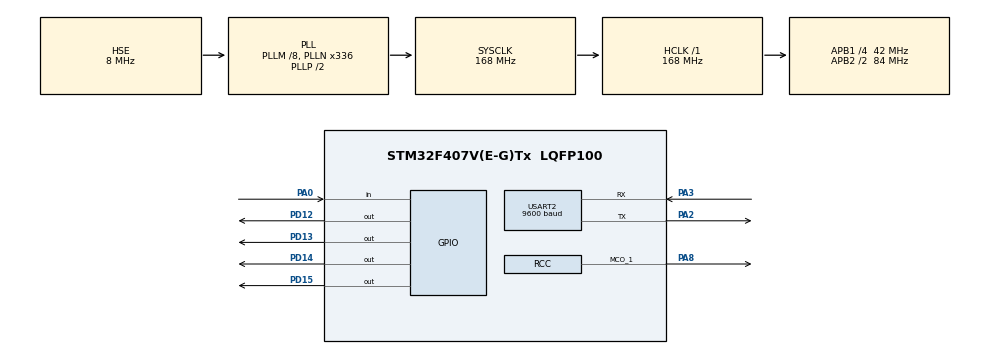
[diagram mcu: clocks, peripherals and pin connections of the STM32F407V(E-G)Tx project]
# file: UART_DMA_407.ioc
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Dma.Request0=USART2_RX
Dma.Request1=USART2_TX
Dma.USART2_RX.0.Direction=DMA_PERIPH_TO_MEMORY
Dma.USART2_RX.0.FIFOMode=DMA_FIFOMODE_DISABLE
Dma.USART2_RX.0.Instance=DMA1_Stream5
Dma.USART2_RX.0.MemDataAlignment=DMA_MDATAALIGN_BYTE
Dma.USART2_RX.0.MemInc=DMA_MINC_ENABLE
Dma.USART2_RX.0.Mode=DMA_NORMAL
Dma.USART2_RX.0.PeriphDataAlignment=DMA_PDATAALIGN_BYTE
Dma.USART2_RX.0.PeriphInc=DMA_PINC_DISABLE
Dma.USART2_RX.0.Priority=DMA_PRIORITY_LOW
Dma.USART2_TX.1.Direction=DMA_MEMORY_TO_PERIPH
Dma.USART2_TX.1.FIFOMode=DMA_FIFOMODE_DISABLE
Dma.USART2_TX.1.Instance=DMA1_Stream6
Dma.USART2_TX.1.MemDataAlignment=DMA_MDATAALIGN_BYTE
Dma.USART2_TX.1.MemInc=DMA_MINC_ENABLE
Dma.USART2_TX.1.Mode=DMA_NORMAL
Dma.USART2_TX.1.PeriphDataAlignment=DMA_PDATAALIGN_BYTE
Dma.USART2_TX.1.PeriphInc=DMA_PINC_DISABLE
Dma.USART2_TX.1.Priority=DMA_PRIORITY_LOW
Mcu.Family=STM32F4
Mcu.Name=STM32F407V(E-G)Tx
Mcu.Package=LQFP100
NVIC.DMA1_Stream5_IRQn=true\:0\:0\:false\:false\:true\:false\:true
NVIC.DMA1_Stream6_IRQn=true\:0\:0\:false\:false\:true\:false\:true
NVIC.PriorityGroup=NVIC_PRIORITYGROUP_0
NVIC.TIM1_UP_TIM10_IRQn=true\:0\:0\:false\:false\:true\:false\:true
NVIC.TimeBase=TIM1_UP_TIM10_IRQn
NVIC.TimeBaseIP=TIM1
NVIC.USART2_IRQn=true\:0\:0\:false\:false\:true\:true\:true
PA0-WKUP.Signal=GPIO_Input
PA2.Mode=Asynchronous
PA2.Signal=USART2_TX
PA3.Mode=Asynchronous
PA3.Signal=USART2_RX
PA8.Mode=Clock-out-1
PA8.Signal=RCC_MCO_1
PD12.Signal=GPIO_Output
PD13.Signal=GPIO_Output
PD14.Signal=GPIO_Output
PD15.Signal=GPIO_Output
PH0-OSC_IN.Mode=HSE-External-Clock-Source
PH0-OSC_IN.Signal=RCC_OSC_IN
PH1-OSC_OUT.Mode=HSE-External-Clock-Source
PH1-OSC_OUT.Signal=RCC_OSC_OUT
ProjectManager.HeapSize=0x200
ProjectManager.StackSize=0x400
ProjectManager.TargetToolchain=STM32CubeIDE
RCC.48MHZClocksFreq_Value=48000000
RCC.AHBFreq_Value=168000000
RCC.APB1CLKDivider=RCC_HCLK_DIV4
RCC.APB1Freq_Value=42000000
RCC.APB1TimFreq_Value=84000000
RCC.APB2CLKDivider=RCC_HCLK_DIV2
RCC.APB2Freq_Value=84000000
RCC.APB2TimFreq_Value=168000000
RCC.CortexFreq_Value=168000000
RCC.HCLKFreq_Value=168000000
RCC.HSE_VALUE=8000000
RCC.HSI_VALUE=16000000
RCC.LSE_VALUE=32768
RCC.PLLM=8
RCC.PLLN=336
RCC.PLLQ=7
RCC.PLLSourceVirtual=RCC_PLLSOURCE_HSE
RCC.SYSCLKFreq_VALUE=168000000
RCC.SYSCLKSource=RCC_SYSCLKSOURCE_PLLCLK
RCC.VCOOutputFreq_Value=336000000
TIM6.AutoReloadPreload=TIM_AUTORELOAD_PRELOAD_ENABLE
TIM6.Prescaler=84
USART2.BaudRate=9600
USART2.Parity=PARITY_EVEN
USART2.VirtualMode=VM_ASYNC
VP_SYS_VS_tim1.Mode=TIM1
VP_TIM6_VS_ClockSourceINT.Mode=Enable_Timer
board=STM32F407G-DISC1

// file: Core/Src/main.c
/* USER CODE BEGIN Header */
/**
  ******************************************************************************
  * @file           : main.c
  * @brief          : Main program body
  ******************************************************************************
  * @attention
  *
  * <h2><center>&copy; Copyright (c) 2022 STMicroelectronics.
  * All rights reserved.</center></h2>
  *
  * This software component is licensed by ST under Ultimate Liberty license
  * SLA0044, the "License"; You may not use this file except in compliance with
  * the License. You may obtain a copy of the License at:
  *                             www.st.com/SLA0044
  *
  ******************************************************************************
  */
/* USER CODE END Header */
#include "main.h"

/* USER CODE BEGIN Includes */
#include<stdio.h>
#include<stdint.h>
#include<stdlib.h>
#include<string.h>
/* USER CODE END Includes */

/* USER CODE BEGIN PTD */
#define TRUE 1
#define FALSE 0
/* USER CODE END PTD */

/* USER CODE BEGIN PD */
#ifdef __GNUC__
#define PUTCHAR_PROTOTYPE int __io_putchar(int ch)
#define GETCHAR_PROTOTYPE int __io_getchar(void)
#else
#define PUTCHAR_PROTOTYPE int fputc(int ch,FILE *F)
#define GETCHAR_PROTOTYPE int fgets(FILE *f)
#endif
//#define TEST_IT
#define TELNET
#define SPRINTF
//#define TRANSMIT_DMA
/* USER CODE END PD */

TIM_HandleTypeDef htim6;

UART_HandleTypeDef huart2;
DMA_HandleTypeDef hdma_usart2_rx;
DMA_HandleTypeDef hdma_usart2_tx;

void SystemClock_Config(void);
static void MX_GPIO_Init(void);
static void MX_DMA_Init(void);
static void MX_TIM6_Init(void);
static void MX_USART2_UART_Init(void);

void DMA_loopback(void);
/* USER CODE BEGIN PFP */
static void telnet_init(void);
/* USER CODE END PFP */

/* USER CODE BEGIN 0 */
typedef enum
{
	INIT = 0,
	START,
	AUTH,
	CONFIG,
	EXIT,
}UART_State_Machine;

#ifdef TEST_IT
uint8_t tx_buff[20]="Ready to Receive\n\r";
uint8_t rx_data;
uint8_t rx_buff[20];
uint8_t i=0;
#endif

#ifdef TELNET
char *user[] = {"admin", "adam1","user1","test1"};
char *pass[] = {"12345","54321","USER1","TEST1"};
char input[20],erase[4],DMA_buff[20],test_input[55],test_output[55];
char input_user[10];
char input_pass[10];
uint8_t stage=INIT,flag=FALSE,prev,curr,tim;
uint8_t rx_data,j=0,recieved=FALSE,count=0;
#endif

//void DMA_loopback(void)
//{
//		HAL_UART_Receive_DMA(&huart2, &rx_data, 1);
//	  sprintf(test_output,"data is getting transmitted......in loopback mode\r");
//	  HAL_UART_Transmit_DMA(&huart2, (uint8_t *)test_output, strlen(test_output));
//	  //HAL_Delay(1000);
//
//}

/* USER CODE END 0 */

int main(void)
{

  /* MCU Configuration--------------------------------------------------------*/

  /* Reset of all peripherals, Initializes the Flash interface and the Systick. */
  HAL_Init();

  /* Configure the system clock */
  SystemClock_Config();

  /* Initialize all configured peripherals */
  MX_GPIO_Init();
  MX_DMA_Init();
  MX_TIM6_Init();
  MX_USART2_UART_Init();
  /* USER CODE BEGIN 2 */
#ifdef TEST_IT
  HAL_UART_Transmit(&huart2, tx_buff, sizeof(tx_buff), 50);
  HAL_UART_Receive_DMA(&huart2, rx_buff, 20);
#endif

#ifdef TELNET

  //printf("A");
 // HAL_UART_Transmit(&huart2,(uint8_t *)"A", 1, 50);
  printf("*********************************************\r\n"
		 "*     Telnet connection started....         *\r\n"
		 "*********************************************\r\n");
//  telnet_init();
 // DMA_loopback();
#endif

  /* USER CODE END 2 */

  /* Infinite loop */
  /* USER CODE BEGIN WHILE */
  while (1)
  {

#ifdef TELNET

	  if(stage==INIT)
	  {
		  telnet_init();
	  }

	  if(recieved)
	  	{
	  		switch(stage)
	  			{
	  				case START:
	  					if(strcmp(input,"telnet"))
	  					{
	  						telnet_init();
	  					}

	  					if(strlen(input)>8)
	  					{
	  						printf("input out of range!!\r\n");
	  						stage=INIT;
	  					}
	  					else
	  					{
	  						memcpy(input_user,input,strlen(input));
	  						memset(input,0,sizeof(input));

	  #ifdef SPRINTF
	  						sprintf(DMA_buff,"\n\rPassword: ");
	  						HAL_UART_Transmit_DMA(&huart2, (uint8_t *)DMA_buff, sizeof(DMA_buff));
	  #else
	  						printf("\n\rPassword: ");
	  #endif
	  						stage=AUTH;
	  						HAL_UART_Receive_DMA(&huart2,&rx_data, 1);
	  						recieved=FALSE;
	  					}
	  					break;

	  				case AUTH:
	  					if(strlen(input)>8)
	  					{
	  						printf("input out of range!!\r\n");
	  						stage=INIT;
	  					}

	  					else
	  					{
	  						memcpy(input_pass,input,strlen(input));

	  						for(uint8_t i=0;i<4;i++)
	  						{
	  							if((strcmp(*(user+i),input_user)==0) && (strcmp(pass[i],input_pass)==0))
	  							{
	  								 prev=__HAL_TIM_GET_COUNTER(&htim6);
	  								printf("\r\nSuccessfully Authenticated!\r\n");
	  								 curr=__HAL_TIM_GET_COUNTER(&htim6);
	  								 tim=curr-prev;
	  								 printf("time taken for print is: %d\r\n",tim);
	  #ifdef SPRINTF
	  								sprintf(DMA_buff,"\r\nConfig> ");
	  								HAL_UART_Transmit_DMA(&huart2,(uint8_t *) DMA_buff, strlen(DMA_buff));
	  #else
	  								printf("Config> ");
	  #endif
	  								HAL_UART_Receive_DMA(&huart2,&rx_data, 1);
	  								recieved=FALSE;
	  								flag=TRUE;
	  								stage=CONFIG;
	  								break;
	  							}
	  						}

	  						if(!flag)
	  						{
	  							stage=INIT;
	  							count++;
	  							//j=0;

	  							if(count>3)
	  							{
	  								printf("\r\nlogin attempt exceeded!!\r\n");
	  								HAL_GPIO_TogglePin(GPIOD, GPIO_PIN_14);
	  								stage=EXIT;
	  							}
	  						}
	  					}
	  						memset(input,0,sizeof(input));
	  						break;

	  				case CONFIG:
	  					if(strcmp(input,"exit")==0 ||  strcmp(input,"Z")==0 )
	  					{
	  						printf("\r\nsession ended!!\r\n");
	  						HAL_GPIO_WritePin(GPIOD, GPIO_PIN_13, GPIO_PIN_RESET);
	  						stage=EXIT;
	  					}
	  					else
	  					{
	  						if(strcmp(input,"turn ON LED")==0)
	  						{
	  							HAL_GPIO_WritePin(GPIOD, GPIO_PIN_13, GPIO_PIN_SET);
	  							printf("\r\nLED turned ON...\r\n");
	  						}

	  						else if(strcmp(input,"turn OFF LED")==0)
	  						{
	  							HAL_GPIO_WritePin(GPIOD, GPIO_PIN_13, GPIO_PIN_RESET);
	  							printf("\r\nLED turned OFF...\r\n");
	  						}

	  						else
	  						{
	  							printf("\r\ninput is invalid\r\n");
	  						}
	  #ifdef SPRINTF
	  						sprintf(DMA_buff,"\r\nConfig> ");
	  						HAL_UART_Transmit_DMA(&huart2, (uint8_t *)DMA_buff, strlen(DMA_buff));
	  #else
	  						printf("Config> ");
	  #endif
	  						HAL_UART_Receive_DMA(&huart2,&rx_data, 1);
	  						recieved=FALSE;
	  					}
	  					memset(input,0,sizeof(input));
	  					break;

	  				case EXIT:
	  					HAL_GPIO_WritePin(GPIOD, GPIO_PIN_13, GPIO_PIN_RESET);
	  					HAL_GPIO_TogglePin(GPIOD, GPIO_PIN_14);
	  					memset(input,0,sizeof(input));

	  					recieved=FALSE;
	  					break;
	  			}
	  	}

#endif
    /* USER CODE END WHILE */

  }
}

void SystemClock_Config(void)
{
  RCC_OscInitTypeDef RCC_OscInitStruct = {0};
  RCC_ClkInitTypeDef RCC_ClkInitStruct = {0};

  /** Configure the main internal regulator output voltage
  */
  __HAL_RCC_PWR_CLK_ENABLE();
  __HAL_PWR_VOLTAGESCALING_CONFIG(PWR_REGULATOR_VOLTAGE_SCALE1);
  /** Initializes the RCC Oscillators according to the specified parameters
  * in the RCC_OscInitTypeDef structure.
  */
  RCC_OscInitStruct.OscillatorType = RCC_OSCILLATORTYPE_HSI|RCC_OSCILLATORTYPE_HSE;
  RCC_OscInitStruct.HSEState = RCC_HSE_BYPASS;
  RCC_OscInitStruct.HSIState = RCC_HSI_ON;
  RCC_OscInitStruct.HSICalibrationValue = RCC_HSICALIBRATION_DEFAULT;
  RCC_OscInitStruct.PLL.PLLState = RCC_PLL_ON;
  RCC_OscInitStruct.PLL.PLLSource = RCC_PLLSOURCE_HSE;
  RCC_OscInitStruct.PLL.PLLM = 8;
  RCC_OscInitStruct.PLL.PLLN = 336;
  RCC_OscInitStruct.PLL.PLLP = RCC_PLLP_DIV2;
  RCC_OscInitStruct.PLL.PLLQ = 7;
  if (HAL_RCC_OscConfig(&RCC_OscInitStruct) != HAL_OK)
  {
    Error_Handler();
  }
  /** Initializes the CPU, AHB and APB buses clocks
  */
  RCC_ClkInitStruct.ClockType = RCC_CLOCKTYPE_HCLK|RCC_CLOCKTYPE_SYSCLK
                              |RCC_CLOCKTYPE_PCLK1|RCC_CLOCKTYPE_PCLK2;
  RCC_ClkInitStruct.SYSCLKSource = RCC_SYSCLKSOURCE_PLLCLK;
  RCC_ClkInitStruct.AHBCLKDivider = RCC_SYSCLK_DIV1;
  RCC_ClkInitStruct.APB1CLKDivider = RCC_HCLK_DIV4;
  RCC_ClkInitStruct.APB2CLKDivider = RCC_HCLK_DIV2;

  if (HAL_RCC_ClockConfig(&RCC_ClkInitStruct, FLASH_LATENCY_5) != HAL_OK)
  {
    Error_Handler();
  }
  HAL_RCC_MCOConfig(RCC_MCO1, RCC_MCO1SOURCE_HSI, RCC_MCODIV_1);
}

static void MX_TIM6_Init(void)
{

  TIM_MasterConfigTypeDef sMasterConfig = {0};

  htim6.Instance = TIM6;
  htim6.Init.Prescaler = 84;
  htim6.Init.CounterMode = TIM_COUNTERMODE_UP;
  htim6.Init.Period = 65535;
  htim6.Init.AutoReloadPreload = TIM_AUTORELOAD_PRELOAD_ENABLE;
  if (HAL_TIM_Base_Init(&htim6) != HAL_OK)
  {
    Error_Handler();
  }
  sMasterConfig.MasterOutputTrigger = TIM_TRGO_RESET;
  sMasterConfig.MasterSlaveMode = TIM_MASTERSLAVEMODE_DISABLE;
  if (HAL_TIMEx_MasterConfigSynchronization(&htim6, &sMasterConfig) != HAL_OK)
  {
    Error_Handler();
  }

}

static void MX_USART2_UART_Init(void)
{

  huart2.Instance = USART2;
  huart2.Init.BaudRate = 9600;
  huart2.Init.WordLength = UART_WORDLENGTH_9B;
  huart2.Init.StopBits = UART_STOPBITS_2;
  huart2.Init.Parity = UART_PARITY_EVEN;
  huart2.Init.Mode = UART_MODE_TX_RX;
  huart2.Init.HwFlowCtl = UART_HWCONTROL_NONE;
  huart2.Init.OverSampling = UART_OVERSAMPLING_16;
  if (HAL_UART_Init(&huart2) != HAL_OK)
  {
    Error_Handler();
  }

}

static void MX_DMA_Init(void)
{

  /* DMA controller clock enable */
  __HAL_RCC_DMA1_CLK_ENABLE();

  /* DMA interrupt init */
  /* DMA1_Stream5_IRQn interrupt configuration */
  HAL_NVIC_SetPriority(DMA1_Stream5_IRQn, 0, 0);
  HAL_NVIC_EnableIRQ(DMA1_Stream5_IRQn);
  /* DMA1_Stream6_IRQn interrupt configuration */
  HAL_NVIC_SetPriority(DMA1_Stream6_IRQn, 0, 0);
  HAL_NVIC_EnableIRQ(DMA1_Stream6_IRQn);

}

static void MX_GPIO_Init(void)
{
  GPIO_InitTypeDef GPIO_InitStruct = {0};

  /* GPIO Ports Clock Enable */
  __HAL_RCC_GPIOH_CLK_ENABLE();
  __HAL_RCC_GPIOA_CLK_ENABLE();
  __HAL_RCC_GPIOD_CLK_ENABLE();

  /*Configure GPIO pin Output Level */
  HAL_GPIO_WritePin(GPIOD, GPIO_PIN_12|GPIO_PIN_13|GPIO_PIN_14|GPIO_PIN_15, GPIO_PIN_RESET);

  /*Configure GPIO pin : PA0 */
  GPIO_InitStruct.Pin = GPIO_PIN_0;
  GPIO_InitStruct.Mode = GPIO_MODE_INPUT;
  GPIO_InitStruct.Pull = GPIO_NOPULL;
  HAL_GPIO_Init(GPIOA, &GPIO_InitStruct);

  /*Configure GPIO pins : PD12 PD13 PD14 PD15 */
  GPIO_InitStruct.Pin = GPIO_PIN_12|GPIO_PIN_13|GPIO_PIN_14|GPIO_PIN_15;
  GPIO_InitStruct.Mode = GPIO_MODE_OUTPUT_PP;
  GPIO_InitStruct.Pull = GPIO_NOPULL;
  GPIO_InitStruct.Speed = GPIO_SPEED_FREQ_LOW;
  HAL_GPIO_Init(GPIOD, &GPIO_InitStruct);

  /*Configure GPIO pin : PA8 */
  GPIO_InitStruct.Pin = GPIO_PIN_8;
  GPIO_InitStruct.Mode = GPIO_MODE_AF_PP;
  GPIO_InitStruct.Pull = GPIO_NOPULL;
  GPIO_InitStruct.Speed = GPIO_SPEED_FREQ_LOW;
  GPIO_InitStruct.Alternate = GPIO_AF0_MCO;
  HAL_GPIO_Init(GPIOA, &GPIO_InitStruct);

}

/* USER CODE BEGIN 4 */

PUTCHAR_PROTOTYPE
{  HAL_UART_Transmit(&huart2, (uint8_t *)&ch, 1, HAL_MAX_DELAY);   return ch; }

GETCHAR_PROTOTYPE
{ 	uint8_t ch = 0;
/* Clear the Overrun flag just before receiving the first character */
	__HAL_UART_CLEAR_OREFLAG(&huart2);
	HAL_UART_Receive(&huart2, (uint8_t *)&ch, 1, HAL_MAX_DELAY);
	return ch;
}

void HAL_UART_TxCpltCallback(UART_HandleTypeDef *huart)
{
	HAL_GPIO_TogglePin(GPIOD, GPIO_PIN_1);
	memset(DMA_buff,0,sizeof(DMA_buff));
//	if(recieved==TRUE)
//	{
//		memset(test_input,0,sizeof(test_input));
//	}

}
void HAL_UART_RxCpltCallback(UART_HandleTypeDef *huart)
{
#ifdef TELNET
// BACKSPACE IMPLEMENTATION

//	if(rx_data == '\b' && j>0)
//		{
//			//input[j]=0;
//			j=j-1;
//			sprintf(erase," \b");
//			HAL_UART_Transmit(&huart2, erase, sizeof(erase), 50);
//			memset(erase,0,sizeof(erase));
//			rx_data=0;
//		}

	if((rx_data != '\r') || j>(sizeof(input)) )
		{
			input[j]=rx_data;
			HAL_GPIO_TogglePin(GPIOD, GPIO_PIN_12);
			HAL_UART_Receive_DMA(&huart2,&rx_data, 1);
			j++;
		}

	else
	{
		recieved=TRUE;
		rx_data=0;
		j=0;
		//HAL_UART_Transmit_DMA(&huart2,(uint8_t *) test_input, strlen (test_input));
		//printf("\r\n");
	}

#endif
#ifdef TEST_IT
//	if(rx_data != '\r' || (i>sizeof(rx_buff)))
//	{
//		rx_buff[i]=rx_data;
//		i++;
//	}
//	else
//	{
//		i=0;
		memset(rx_buff,0,sizeof(rx_buff));
		sprintf(tx_buff,"\n\rData Received\r\n");
		HAL_UART_Transmit(&huart2, tx_buff, sizeof(tx_buff),50);
		HAL_GPIO_TogglePin(GPIOD, GPIO_PIN_15);
//	}
	HAL_UART_Receive_DMA(&huart2, &rx_data, 1);
//	HAL_GPIO_TogglePin(GPIOD, GPIO_PIN_14);
#endif
}
void HAL_UART_ErrorCallback(UART_HandleTypeDef *huart)
{
  /* Prevent unused argument(s) compilation warning */
	huart->ErrorCode;
  /* NOTE: This function should not be modified, when the callback is needed,
           the HAL_UART_ErrorCallback could be implemented in the user file
   */
}

#ifdef TELNET
static void telnet_init(void)
  {
#ifdef SPRINTF
	  sprintf(DMA_buff,"\r\nUsername: ");
	  //HAL_UART_Transmit(&huart2, input, sizeof(input), 50);
	  HAL_UART_Transmit_DMA(&huart2, (uint8_t *)DMA_buff, sizeof(DMA_buff));
#else
	  printf("Username :");

#endif

	  stage=START;
	  flag=FALSE;
	  rx_data=0;
	  recieved=FALSE;

	  //memset(input,0,sizeof(input));
	  memset(input_user,0,sizeof(input_user));
	  memset(input_pass,0,sizeof(input_pass));
	 // HAL_UART_Receive_DMA(&huart2,&rx_data, 1);
	  HAL_UARTEx_ReceiveToIdle_DMA(&huart2, input, sizeof(input));
  }
#endif
/* USER CODE END 4 */

void HAL_TIM_PeriodElapsedCallback(TIM_HandleTypeDef *htim)
{
  if (htim->Instance == TIM1) {
    HAL_IncTick();
  }
}

void Error_Handler(void)
{
  __disable_irq();
  while (1)
  {
  }
}

/************************ (C) COPYRIGHT STMicroelectronics *****END OF FILE****/
